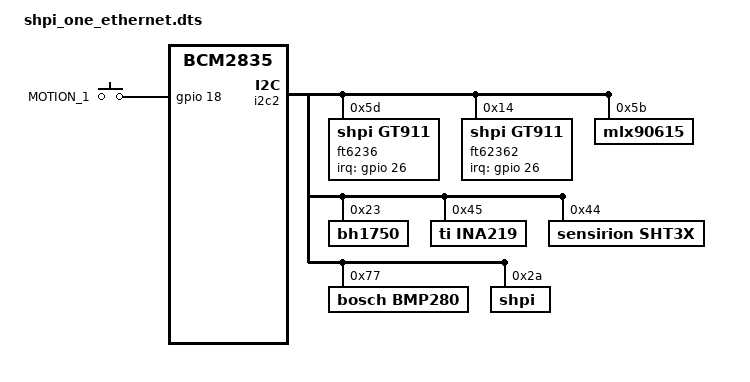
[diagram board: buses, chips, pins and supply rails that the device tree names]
/dts-v1/;
/plugin/;

/{
	compatible = "brcm,bcm2835";


	fragment@0 {
		target = <&fb>;
		__overlay__ {
			pinctrl-names = "default";
			pinctrl-0 = <&dpi18_pins>;
		};
	};

	fragment@1 {
		target = <&vc4>;
		__overlay__ {
			pinctrl-names = "default";
			pinctrl-0 = <&dpi18_pins>;
		};
	};

	fragment@2 {
		target = <&gpio>;
		__overlay__ {
			dpi18_pins: dpi18_pins {
				brcm,pins = <0 1 2 3 4 5 6 7 8 9
					     12 13 14 15 16 17 20
					     21 22 23 24 25>; /* no 10, 19, 27 */
				brcm,function = <6>; /* alt2 */
				brcm,pull = <0>; /* no pull */
			};
		};
	};
	
	
    fragment@3 {
                target = <&gpio>;
                __overlay__ {
                        goodix_pins: goodix_pins {
                                brcm,pins = <26>; // interrupt and reset
                                brcm,function = <0>; // in
                                brcm,pull = <2>; // pull-up
                        };
                };
        };
	

    fragment@4 {
        target = <&i2c2>;
        __overlay__ {
            #address-cells = <1>;
            #size-cells = <0>;
            status = "okay";
            ft6236: ft6236@5d {
                compatible = "shpi,gt911";
                reg = <0x5d>;
                pinctrl-names = "default";
                pinctrl-0 = <&goodix_pins>;
                interrupt-parent = <&gpio>;
                interrupts = <26 2>;
                touchscreen-size-x = <480>;
                touchscreen-size-y = <800>;
                touchscreen-inverted-x;
                touchscreen-inverted-y;
                touchscreen-swapped-x-y;
                touchscreen-refresh-rate = <5>;
            };
        };
    };	
    fragment@5 {
        target = <&i2c2>;
        __overlay__ {
            #address-cells = <1>;
            #size-cells = <0>;
            status = "okay";
            ft62362: ft62362@14 {
                compatible = "shpi,gt911";
                reg = <0x14>;
                pinctrl-names = "default";
                pinctrl-0 = <&goodix_pins>;
                interrupt-parent = <&gpio>;
                interrupts = <26 2>;
                touchscreen-size-x = <480>;
                touchscreen-size-y = <800>;
                touchscreen-inverted-x;
                touchscreen-inverted-y;
                touchscreen-swapped-x-y;
                touchscreen-refresh-rate = <5>;
            };
        };
    };


 fragment@6 {
        target = <&i2c2>;
        __overlay__ {
            #address-cells = <1>;
            #size-cells = <0>;
            status = "okay";
            mlx90615@5b {
                compatible = "mlx90615";
                reg = <0x5b>;

            };
        };
    };



    fragment@7 {
        target = <&i2c2>;
        __overlay__ {
            #address-cells = <1>;
            #size-cells = <0>;
            status = "okay";
            bh1750@23 {
                compatible = "bh1750";
                reg = <0x23>;

            };
        };
    };



    fragment@8 {
        target = <&i2c2>;
        __overlay__ {
            #address-cells = <1>;
            #size-cells = <0>;
            status = "okay";
            ina219@45 {
                compatible = "ti,ina219";
                reg = <0x45>;
		shunt-resistor = <100000>;

            };
        };
    };



    fragment@9 {
        target = <&i2c2>;
        __overlay__ {
            #address-cells = <1>;
            #size-cells = <0>;
            status = "okay";
            sht3x@44 {
                compatible = "sensirion,sht3x";
                reg = <0x44>;             

            };
        };
    };


    fragment@10 {
        target = <&i2c2>;
        __overlay__ {
            #address-cells = <1>;
            #size-cells = <0>;
            status = "okay";
            bmp280@77 {
                compatible = "bosch,bmp280";
                reg = <0x77>;
                

            };
        };
    };




   fragment@11 {
        target = <&i2c2>;

        __overlay__ {
            #address-cells = <1>;
            #size-cells = <0>;
            status = "okay";

	    shpi@2a {
            compatible = "shpi";
            reg = <0x2a>;
            };

    };

    };


       fragment@12 {
                // Configure the gpio pin controller
                target = <&gpio>;
                __overlay__ {
                        pin_state: motion_pins {
                                brcm,pins = <18 10 11>; // gpio number, 10 used for speaker amp, so we keep it on, bit hacky here
                                brcm,function = <0 0 0>; // 0 = input, 1 = output
                                brcm,pull = <1 2 2>; // 0 = none, 1 = pull down, 2 = pull up
                        };
                };
        };
        fragment@13 {
                target-path = "/";
                __overlay__ {
                        motion: motion {
                                compatible = "gpio-keys";
                                pinctrl-names = "default";
                                pinctrl-0 = <&pin_state>;
                                status = "okay";
                                autorepeat;

                                key: key {
                                        linux,code = <132>;
                                        gpios = <&gpio 18 0>;
                                        label = "MOTION_1";
                                };
                        };
                };
        };


};
